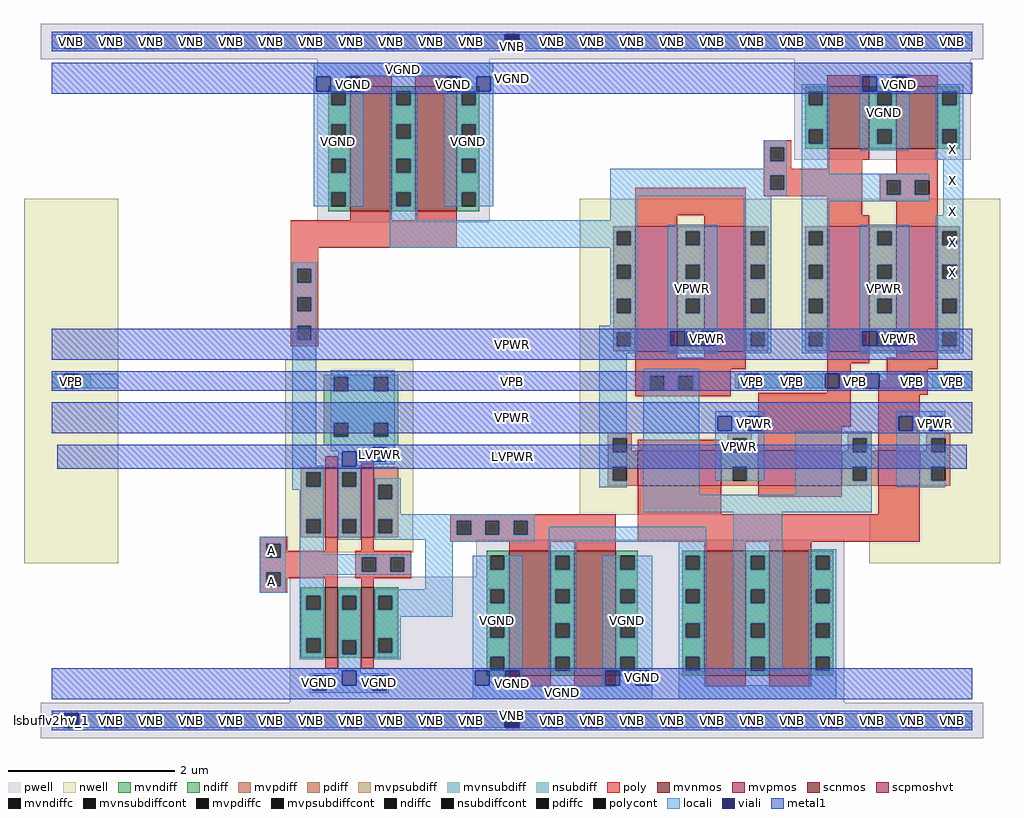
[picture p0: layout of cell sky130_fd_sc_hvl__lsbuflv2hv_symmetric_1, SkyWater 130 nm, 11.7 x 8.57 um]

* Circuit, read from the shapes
.subckt sky130_fd_sc_hvl__lsbuflv2hv_symmetric_1 A LVPWR VGND VNB VPB VPWR X
XM1 VGND A n1 VNB sky130_fd_pr__nfet_01v8 w=0.84 l=0.15
XM2 n2 n1 VGND VNB sky130_fd_pr__nfet_g5v0d10v5 w=1.5 l=0.5 m=2
XM3 n3 n1 VGND VNB sky130_fd_pr__nfet_01v8 w=0.84 l=0.15
XM4 n4 n3 VGND VNB sky130_fd_pr__nfet_g5v0d10v5 w=1.5 l=0.5 m=2
XM5 n5 n6 n4 VNB sky130_fd_pr__nfet_g5v0d10v5 w=1.5 l=0.5 m=2
XM6 VGND n2 n6 VNB sky130_fd_pr__nfet_g5v0d10v5 w=0.75 l=0.5
XM7 X n6 VGND VNB sky130_fd_pr__nfet_g5v0d10v5 w=0.75 l=0.5
XM8 LVPWR A n1 LVPWR sky130_fd_pr__pfet_01v8_hvt w=0.84 l=0.15
XM9 n3 n1 LVPWR LVPWR sky130_fd_pr__pfet_01v8_hvt w=0.84 l=0.15
XM10 VPWR n5 n2 VPB sky130_fd_pr__pfet_g5v0d10v5 w=1.5 l=0.5 m=2
XM11 VPWR n6 n2 VPB sky130_fd_pr__pfet_g5v0d10v5 w=0.42 l=1
XM12 n5 n2 VPWR VPB sky130_fd_pr__pfet_g5v0d10v5 w=0.42 l=1
XM13 VPWR n2 n6 VPB sky130_fd_pr__pfet_g5v0d10v5 w=1.5 l=0.5
XM14 VPWR n6 n5 VPB sky130_fd_pr__pfet_g5v0d10v5 w=0.42 l=0.5
XM15 X n6 VPWR VPB sky130_fd_pr__pfet_g5v0d10v5 w=1.5 l=0.5
.ends

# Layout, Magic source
magic
tech sky130B
magscale 1 2
<< nwell >>
rect -66 377 160 1251
rect 560 403 867 865
rect 1267 493 2274 1251
rect 1960 377 2274 493
<< pwell >>
rect -26 1585 2234 1671
rect 637 1195 1051 1585
rect 1781 1345 2204 1585
rect 1018 345 1900 433
rect 571 43 1900 345
rect -26 -43 2234 43
<< scnmos >>
rect 656 151 686 319
rect 742 151 772 319
<< scpmoshvt >>
rect 656 439 686 607
rect 742 439 772 607
<< mvnmos >>
rect 716 1221 816 1521
rect 872 1221 972 1521
rect 1860 1371 1960 1521
rect 2025 1371 2125 1521
rect 1097 107 1197 407
rect 1253 107 1353 407
rect 1565 107 1665 407
rect 1721 107 1821 407
<< mvpmos >>
rect 1400 885 1500 1185
rect 1565 885 1665 1185
rect 1860 885 1960 1185
rect 2025 885 2125 1185
rect 1406 563 1606 647
rect 1694 563 1894 647
rect 1982 563 2082 647
<< ndiff >>
rect 597 299 656 319
rect 597 265 611 299
rect 645 265 656 299
rect 597 197 656 265
rect 597 163 611 197
rect 645 163 656 197
rect 597 151 656 163
rect 686 299 742 319
rect 686 265 697 299
rect 731 265 742 299
rect 686 193 742 265
rect 686 159 697 193
rect 731 159 742 193
rect 686 151 742 159
rect 772 299 831 319
rect 772 265 783 299
rect 817 265 831 299
rect 772 197 831 265
rect 772 163 783 197
rect 817 163 831 197
rect 772 151 831 163
<< pdiff >>
rect 597 595 656 607
rect 597 561 611 595
rect 645 561 656 595
rect 597 483 656 561
rect 597 449 611 483
rect 645 449 656 483
rect 597 439 656 449
rect 686 595 742 607
rect 686 561 697 595
rect 731 561 742 595
rect 686 483 742 561
rect 686 449 697 483
rect 731 449 742 483
rect 686 439 742 449
rect 772 565 831 607
rect 772 531 783 565
rect 817 531 831 565
rect 772 483 831 531
rect 772 449 783 483
rect 817 449 831 483
rect 772 439 831 449
<< mvndiff >>
rect 663 1509 716 1521
rect 663 1475 671 1509
rect 705 1475 716 1509
rect 663 1429 716 1475
rect 663 1395 671 1429
rect 705 1395 716 1429
rect 663 1347 716 1395
rect 663 1313 671 1347
rect 705 1313 716 1347
rect 663 1267 716 1313
rect 663 1233 671 1267
rect 705 1233 716 1267
rect 663 1221 716 1233
rect 816 1509 872 1521
rect 816 1475 827 1509
rect 861 1475 872 1509
rect 816 1429 872 1475
rect 816 1395 827 1429
rect 861 1395 872 1429
rect 816 1347 872 1395
rect 816 1313 827 1347
rect 861 1313 872 1347
rect 816 1267 872 1313
rect 816 1233 827 1267
rect 861 1233 872 1267
rect 816 1221 872 1233
rect 972 1509 1025 1521
rect 972 1475 983 1509
rect 1017 1475 1025 1509
rect 972 1429 1025 1475
rect 972 1395 983 1429
rect 1017 1395 1025 1429
rect 972 1347 1025 1395
rect 1807 1509 1860 1521
rect 1807 1475 1815 1509
rect 1849 1475 1860 1509
rect 1807 1417 1860 1475
rect 972 1313 983 1347
rect 1017 1313 1025 1347
rect 972 1267 1025 1313
rect 1807 1383 1815 1417
rect 1849 1383 1860 1417
rect 1807 1371 1860 1383
rect 1960 1509 2025 1521
rect 1960 1475 1980 1509
rect 2014 1475 2025 1509
rect 1960 1417 2025 1475
rect 1960 1383 1980 1417
rect 2014 1383 2025 1417
rect 1960 1371 2025 1383
rect 2125 1509 2178 1521
rect 2125 1475 2136 1509
rect 2170 1475 2178 1509
rect 2125 1417 2178 1475
rect 2125 1383 2136 1417
rect 2170 1383 2178 1417
rect 2125 1371 2178 1383
rect 972 1233 983 1267
rect 1017 1233 1025 1267
rect 972 1221 1025 1233
rect 1044 395 1097 407
rect 1044 361 1052 395
rect 1086 361 1097 395
rect 1044 315 1097 361
rect 1044 281 1052 315
rect 1086 281 1097 315
rect 1044 233 1097 281
rect 1044 199 1052 233
rect 1086 199 1097 233
rect 1044 153 1097 199
rect 1044 119 1052 153
rect 1086 119 1097 153
rect 1044 107 1097 119
rect 1197 395 1253 407
rect 1197 361 1208 395
rect 1242 361 1253 395
rect 1197 315 1253 361
rect 1197 281 1208 315
rect 1242 281 1253 315
rect 1197 233 1253 281
rect 1197 199 1208 233
rect 1242 199 1253 233
rect 1197 153 1253 199
rect 1197 119 1208 153
rect 1242 119 1253 153
rect 1197 107 1253 119
rect 1353 395 1406 407
rect 1353 361 1364 395
rect 1398 361 1406 395
rect 1353 315 1406 361
rect 1353 281 1364 315
rect 1398 281 1406 315
rect 1353 233 1406 281
rect 1353 199 1364 233
rect 1398 199 1406 233
rect 1353 153 1406 199
rect 1353 119 1364 153
rect 1398 119 1406 153
rect 1353 107 1406 119
rect 1512 395 1565 407
rect 1512 361 1520 395
rect 1554 361 1565 395
rect 1512 315 1565 361
rect 1512 281 1520 315
rect 1554 281 1565 315
rect 1512 233 1565 281
rect 1512 199 1520 233
rect 1554 199 1565 233
rect 1512 153 1565 199
rect 1512 119 1520 153
rect 1554 119 1565 153
rect 1512 107 1565 119
rect 1665 395 1721 407
rect 1665 361 1676 395
rect 1710 361 1721 395
rect 1665 315 1721 361
rect 1665 281 1676 315
rect 1710 281 1721 315
rect 1665 233 1721 281
rect 1665 199 1676 233
rect 1710 199 1721 233
rect 1665 153 1721 199
rect 1665 119 1676 153
rect 1710 119 1721 153
rect 1665 107 1721 119
rect 1821 395 1874 407
rect 1821 361 1832 395
rect 1866 361 1874 395
rect 1821 315 1874 361
rect 1821 281 1832 315
rect 1866 281 1874 315
rect 1821 233 1874 281
rect 1821 199 1832 233
rect 1866 199 1874 233
rect 1821 153 1874 199
rect 1821 119 1832 153
rect 1866 119 1874 153
rect 1821 107 1874 119
<< mvpdiff >>
rect 1347 1173 1400 1185
rect 1347 1139 1355 1173
rect 1389 1139 1400 1173
rect 1347 1093 1400 1139
rect 1347 1059 1355 1093
rect 1389 1059 1400 1093
rect 1347 1011 1400 1059
rect 1347 977 1355 1011
rect 1389 977 1400 1011
rect 1347 931 1400 977
rect 1347 897 1355 931
rect 1389 897 1400 931
rect 1347 885 1400 897
rect 1500 1173 1565 1185
rect 1500 1139 1520 1173
rect 1554 1139 1565 1173
rect 1500 1093 1565 1139
rect 1500 1059 1520 1093
rect 1554 1059 1565 1093
rect 1500 1011 1565 1059
rect 1500 977 1520 1011
rect 1554 977 1565 1011
rect 1500 931 1565 977
rect 1500 897 1520 931
rect 1554 897 1565 931
rect 1500 885 1565 897
rect 1665 1173 1718 1185
rect 1665 1139 1676 1173
rect 1710 1139 1718 1173
rect 1665 1093 1718 1139
rect 1665 1059 1676 1093
rect 1710 1059 1718 1093
rect 1665 1011 1718 1059
rect 1665 977 1676 1011
rect 1710 977 1718 1011
rect 1665 931 1718 977
rect 1665 897 1676 931
rect 1710 897 1718 931
rect 1665 885 1718 897
rect 1807 1173 1860 1185
rect 1807 1139 1815 1173
rect 1849 1139 1860 1173
rect 1807 1093 1860 1139
rect 1807 1059 1815 1093
rect 1849 1059 1860 1093
rect 1807 1011 1860 1059
rect 1807 977 1815 1011
rect 1849 977 1860 1011
rect 1807 931 1860 977
rect 1807 897 1815 931
rect 1849 897 1860 931
rect 1807 885 1860 897
rect 1960 1173 2025 1185
rect 1960 1139 1980 1173
rect 2014 1139 2025 1173
rect 1960 1093 2025 1139
rect 1960 1059 1980 1093
rect 2014 1059 2025 1093
rect 1960 1011 2025 1059
rect 1960 977 1980 1011
rect 2014 977 2025 1011
rect 1960 931 2025 977
rect 1960 897 1980 931
rect 2014 897 2025 931
rect 1960 885 2025 897
rect 2125 1173 2178 1185
rect 2125 1139 2136 1173
rect 2170 1139 2178 1173
rect 2125 1093 2178 1139
rect 2125 1059 2136 1093
rect 2170 1059 2178 1093
rect 2125 1011 2178 1059
rect 2125 977 2136 1011
rect 2170 977 2178 1011
rect 2125 931 2178 977
rect 2125 897 2136 931
rect 2170 897 2178 931
rect 2125 885 2178 897
rect 1333 677 1391 689
rect 1333 643 1345 677
rect 1379 647 1391 677
rect 1621 677 1679 689
rect 1621 647 1633 677
rect 1379 643 1406 647
rect 1333 609 1406 643
rect 1333 575 1345 609
rect 1379 575 1406 609
rect 1333 563 1406 575
rect 1606 643 1633 647
rect 1667 647 1679 677
rect 1909 677 1967 689
rect 1909 647 1921 677
rect 1667 643 1694 647
rect 1606 609 1694 643
rect 1606 575 1633 609
rect 1667 575 1694 609
rect 1606 563 1694 575
rect 1894 643 1921 647
rect 1955 647 1967 677
rect 2097 677 2155 689
rect 2097 647 2109 677
rect 1955 643 1982 647
rect 1894 609 1982 643
rect 1894 575 1921 609
rect 1955 575 1982 609
rect 1894 563 1982 575
rect 2082 643 2109 647
rect 2143 643 2155 677
rect 2082 609 2155 643
rect 2082 575 2109 609
rect 2143 575 2155 609
rect 2082 563 2155 575
<< ndiffc >>
rect 611 265 645 299
rect 611 163 645 197
rect 697 265 731 299
rect 697 159 731 193
rect 783 265 817 299
rect 783 163 817 197
<< pdiffc >>
rect 611 561 645 595
rect 611 449 645 483
rect 697 561 731 595
rect 697 449 731 483
rect 783 531 817 565
rect 783 449 817 483
<< mvndiffc >>
rect 671 1475 705 1509
rect 671 1395 705 1429
rect 671 1313 705 1347
rect 671 1233 705 1267
rect 827 1475 861 1509
rect 827 1395 861 1429
rect 827 1313 861 1347
rect 827 1233 861 1267
rect 983 1475 1017 1509
rect 983 1395 1017 1429
rect 1815 1475 1849 1509
rect 983 1313 1017 1347
rect 1815 1383 1849 1417
rect 1980 1475 2014 1509
rect 1980 1383 2014 1417
rect 2136 1475 2170 1509
rect 2136 1383 2170 1417
rect 983 1233 1017 1267
rect 1052 361 1086 395
rect 1052 281 1086 315
rect 1052 199 1086 233
rect 1052 119 1086 153
rect 1208 361 1242 395
rect 1208 281 1242 315
rect 1208 199 1242 233
rect 1208 119 1242 153
rect 1364 361 1398 395
rect 1364 281 1398 315
rect 1364 199 1398 233
rect 1364 119 1398 153
rect 1520 361 1554 395
rect 1520 281 1554 315
rect 1520 199 1554 233
rect 1520 119 1554 153
rect 1676 361 1710 395
rect 1676 281 1710 315
rect 1676 199 1710 233
rect 1676 119 1710 153
rect 1832 361 1866 395
rect 1832 281 1866 315
rect 1832 199 1866 233
rect 1832 119 1866 153
<< mvpdiffc >>
rect 1355 1139 1389 1173
rect 1355 1059 1389 1093
rect 1355 977 1389 1011
rect 1355 897 1389 931
rect 1520 1139 1554 1173
rect 1520 1059 1554 1093
rect 1520 977 1554 1011
rect 1520 897 1554 931
rect 1676 1139 1710 1173
rect 1676 1059 1710 1093
rect 1676 977 1710 1011
rect 1676 897 1710 931
rect 1815 1139 1849 1173
rect 1815 1059 1849 1093
rect 1815 977 1849 1011
rect 1815 897 1849 931
rect 1980 1139 2014 1173
rect 1980 1059 2014 1093
rect 1980 977 2014 1011
rect 1980 897 2014 931
rect 2136 1139 2170 1173
rect 2136 1059 2170 1093
rect 2136 977 2170 1011
rect 2136 897 2170 931
rect 1345 643 1379 677
rect 1345 575 1379 609
rect 1633 643 1667 677
rect 1633 575 1667 609
rect 1921 643 1955 677
rect 1921 575 1955 609
rect 2109 643 2143 677
rect 2109 575 2143 609
<< nsubdiff >>
rect 653 824 831 829
rect 653 790 677 824
rect 711 790 773 824
rect 807 790 831 824
rect 653 714 831 790
rect 653 680 677 714
rect 711 680 773 714
rect 807 680 831 714
rect 653 661 831 680
<< mvpsubdiff >>
rect 0 1611 31 1645
rect 65 1611 127 1645
rect 161 1611 223 1645
rect 257 1611 319 1645
rect 353 1611 415 1645
rect 449 1611 511 1645
rect 545 1611 607 1645
rect 641 1611 703 1645
rect 737 1611 799 1645
rect 833 1611 895 1645
rect 929 1611 991 1645
rect 1025 1611 1087 1645
rect 1121 1611 1183 1645
rect 1217 1611 1279 1645
rect 1313 1611 1375 1645
rect 1409 1611 1471 1645
rect 1505 1611 1567 1645
rect 1601 1611 1663 1645
rect 1697 1611 1759 1645
rect 1793 1611 1855 1645
rect 1889 1611 1951 1645
rect 1985 1611 2047 1645
rect 2081 1611 2143 1645
rect 2177 1611 2208 1645
rect 0 -17 31 17
rect 65 -17 127 17
rect 161 -17 223 17
rect 257 -17 319 17
rect 353 -17 415 17
rect 449 -17 511 17
rect 545 -17 607 17
rect 641 -17 703 17
rect 737 -17 799 17
rect 833 -17 895 17
rect 929 -17 991 17
rect 1025 -17 1087 17
rect 1121 -17 1183 17
rect 1217 -17 1279 17
rect 1313 -17 1375 17
rect 1409 -17 1471 17
rect 1505 -17 1567 17
rect 1601 -17 1663 17
rect 1697 -17 1759 17
rect 1793 -17 1855 17
rect 1889 -17 1951 17
rect 1985 -17 2047 17
rect 2081 -17 2143 17
rect 2177 -17 2208 17
<< mvnsubdiff >>
rect 0 797 31 831
rect 65 797 94 831
rect 1639 797 1663 831
rect 1697 797 1759 831
rect 1793 797 1849 831
rect 2112 797 2143 831
rect 2177 797 2208 831
<< nsubdiffcont >>
rect 677 790 711 824
rect 773 790 807 824
rect 677 680 711 714
rect 773 680 807 714
<< mvpsubdiffcont >>
rect 31 1611 65 1645
rect 127 1611 161 1645
rect 223 1611 257 1645
rect 319 1611 353 1645
rect 415 1611 449 1645
rect 511 1611 545 1645
rect 607 1611 641 1645
rect 703 1611 737 1645
rect 799 1611 833 1645
rect 895 1611 929 1645
rect 991 1611 1025 1645
rect 1087 1611 1121 1645
rect 1183 1611 1217 1645
rect 1279 1611 1313 1645
rect 1375 1611 1409 1645
rect 1471 1611 1505 1645
rect 1567 1611 1601 1645
rect 1663 1611 1697 1645
rect 1759 1611 1793 1645
rect 1855 1611 1889 1645
rect 1951 1611 1985 1645
rect 2047 1611 2081 1645
rect 2143 1611 2177 1645
rect 31 -17 65 17
rect 127 -17 161 17
rect 223 -17 257 17
rect 319 -17 353 17
rect 415 -17 449 17
rect 511 -17 545 17
rect 607 -17 641 17
rect 703 -17 737 17
rect 799 -17 833 17
rect 895 -17 929 17
rect 991 -17 1025 17
rect 1087 -17 1121 17
rect 1183 -17 1217 17
rect 1279 -17 1313 17
rect 1375 -17 1409 17
rect 1471 -17 1505 17
rect 1567 -17 1601 17
rect 1663 -17 1697 17
rect 1759 -17 1793 17
rect 1855 -17 1889 17
rect 1951 -17 1985 17
rect 2047 -17 2081 17
rect 2143 -17 2177 17
<< mvnsubdiffcont >>
rect 31 797 65 831
rect 1663 797 1697 831
rect 1759 797 1793 831
rect 2143 797 2177 831
<< poly >>
rect 716 1521 816 1547
rect 872 1521 972 1547
rect 1860 1521 1960 1547
rect 2025 1521 2125 1547
rect 1707 1375 1773 1391
rect 1707 1341 1723 1375
rect 1757 1341 1773 1375
rect 1707 1323 1773 1341
rect 1860 1345 1960 1371
rect 1860 1323 1944 1345
rect 1707 1307 1944 1323
rect 2025 1311 2125 1371
rect 716 1199 816 1221
rect 872 1199 972 1221
rect 573 1133 972 1199
rect 1400 1211 1665 1277
rect 1707 1273 1723 1307
rect 1757 1273 1944 1307
rect 1707 1257 1944 1273
rect 1400 1185 1500 1211
rect 1565 1185 1665 1211
rect 1860 1211 1944 1257
rect 1986 1295 2125 1311
rect 1986 1261 2002 1295
rect 2036 1261 2070 1295
rect 2104 1261 2125 1295
rect 1986 1245 2125 1261
rect 1860 1185 1960 1211
rect 2025 1185 2125 1245
rect 573 1083 639 1133
rect 573 1049 589 1083
rect 623 1049 639 1083
rect 573 1015 639 1049
rect 573 981 589 1015
rect 623 981 639 1015
rect 573 947 639 981
rect 573 913 589 947
rect 623 913 639 947
rect 573 897 639 913
rect 1400 870 1500 885
rect 1565 870 1665 885
rect 1400 842 1665 870
rect 1860 857 1960 885
rect 2025 870 2125 885
rect 1400 827 1628 842
rect 1400 793 1435 827
rect 1469 793 1503 827
rect 1537 793 1628 827
rect 1400 777 1628 793
rect 1860 786 1916 857
rect 2002 842 2125 870
rect 2002 815 2101 842
rect 1694 704 1916 786
rect 1982 781 2101 815
rect 1406 647 1606 673
rect 656 607 686 633
rect 742 607 772 633
rect 499 424 565 440
rect 1694 647 1894 704
rect 1982 647 2082 781
rect 1406 495 1606 563
rect 1694 537 1894 563
rect 1982 495 2082 563
rect 956 479 1353 495
rect 956 445 972 479
rect 1006 445 1040 479
rect 1074 445 1108 479
rect 1142 445 1353 479
rect 499 390 515 424
rect 549 407 565 424
rect 656 407 686 439
rect 742 407 772 439
rect 956 429 1353 445
rect 1406 429 2082 495
rect 1097 407 1197 429
rect 1253 407 1353 429
rect 1565 407 1665 429
rect 1721 407 1821 429
rect 549 390 686 407
rect 499 356 686 390
rect 499 322 515 356
rect 549 341 686 356
rect 728 391 862 407
rect 728 357 744 391
rect 778 357 812 391
rect 846 357 862 391
rect 728 341 862 357
rect 549 322 565 341
rect 499 306 565 322
rect 656 319 686 341
rect 742 319 772 341
rect 656 125 686 151
rect 742 125 772 151
rect 1097 81 1197 107
rect 1253 81 1353 107
rect 1565 81 1665 107
rect 1721 81 1821 107
<< polycont >>
rect 1723 1341 1757 1375
rect 1723 1273 1757 1307
rect 2002 1261 2036 1295
rect 2070 1261 2104 1295
rect 589 1049 623 1083
rect 589 981 623 1015
rect 589 913 623 947
rect 1435 793 1469 827
rect 1503 793 1537 827
rect 972 445 1006 479
rect 1040 445 1074 479
rect 1108 445 1142 479
rect 515 390 549 424
rect 515 322 549 356
rect 744 357 778 391
rect 812 357 846 391
<< locali >>
rect 0 1611 31 1645
rect 65 1611 127 1645
rect 161 1611 223 1645
rect 257 1611 319 1645
rect 353 1611 415 1645
rect 449 1611 511 1645
rect 545 1611 607 1645
rect 641 1611 703 1645
rect 737 1611 799 1645
rect 833 1611 895 1645
rect 929 1611 991 1645
rect 1025 1611 1087 1645
rect 1121 1611 1183 1645
rect 1217 1611 1279 1645
rect 1313 1611 1375 1645
rect 1409 1611 1471 1645
rect 1505 1611 1567 1645
rect 1601 1611 1663 1645
rect 1697 1611 1759 1645
rect 1793 1611 1855 1645
rect 1889 1611 1951 1645
rect 1985 1611 2047 1645
rect 2081 1611 2143 1645
rect 2177 1611 2208 1645
rect 629 1543 1059 1577
rect 629 1509 635 1543
rect 669 1509 707 1543
rect 741 1509 747 1543
rect 941 1509 947 1543
rect 981 1509 1019 1543
rect 1053 1509 1059 1543
rect 1938 1543 2056 1549
rect 629 1475 671 1509
rect 705 1475 747 1509
rect 629 1429 747 1475
rect 629 1395 671 1429
rect 705 1395 747 1429
rect 629 1347 747 1395
rect 629 1313 671 1347
rect 705 1313 747 1347
rect 629 1267 747 1313
rect 629 1233 671 1267
rect 705 1233 747 1267
rect 811 1475 827 1509
rect 861 1475 877 1509
rect 811 1429 877 1475
rect 811 1395 827 1429
rect 861 1395 877 1429
rect 811 1347 877 1395
rect 811 1313 827 1347
rect 861 1313 877 1347
rect 811 1267 877 1313
rect 811 1233 827 1267
rect 861 1233 877 1267
rect 941 1475 983 1509
rect 1017 1475 1059 1509
rect 941 1429 1059 1475
rect 941 1395 983 1429
rect 1017 1395 1059 1429
rect 941 1347 1059 1395
rect 1799 1509 1865 1525
rect 1799 1475 1815 1509
rect 1849 1475 1865 1509
rect 1799 1417 1865 1475
rect 941 1313 983 1347
rect 1017 1313 1059 1347
rect 1707 1375 1763 1391
rect 1707 1341 1723 1375
rect 1757 1341 1763 1375
rect 1707 1323 1763 1341
rect 941 1267 1059 1313
rect 941 1233 983 1267
rect 1017 1233 1059 1267
rect 1339 1307 1763 1323
rect 1339 1273 1723 1307
rect 1757 1273 1763 1307
rect 1339 1257 1763 1273
rect 1799 1383 1815 1417
rect 1849 1383 1865 1417
rect 1799 1311 1865 1383
rect 1938 1509 1944 1543
rect 1978 1509 2016 1543
rect 2050 1509 2056 1543
rect 1938 1475 1980 1509
rect 2014 1475 2056 1509
rect 1938 1417 2056 1475
rect 1938 1383 1980 1417
rect 2014 1383 2056 1417
rect 1938 1367 2056 1383
rect 2120 1509 2186 1525
rect 2120 1475 2136 1509
rect 2170 1475 2186 1509
rect 2120 1417 2186 1475
rect 2120 1383 2136 1417
rect 2170 1383 2186 1417
rect 2120 1345 2186 1383
rect 1799 1295 2104 1311
rect 1799 1261 2002 1295
rect 2036 1261 2070 1295
rect 811 1199 877 1233
rect 1339 1199 1405 1257
rect 811 1173 1405 1199
rect 811 1139 1355 1173
rect 1389 1139 1405 1173
rect 811 1133 1405 1139
rect 577 1083 635 1099
rect 577 1049 589 1083
rect 623 1049 635 1083
rect 577 1015 635 1049
rect 577 981 589 1015
rect 623 981 635 1015
rect 577 947 635 981
rect 1339 1093 1405 1133
rect 1339 1059 1355 1093
rect 1389 1059 1405 1093
rect 1339 1011 1405 1059
rect 1339 977 1355 1011
rect 1389 977 1405 1011
rect 1339 947 1405 977
rect 577 913 589 947
rect 623 913 635 947
rect 0 797 31 831
rect 65 797 160 831
rect 577 611 635 913
rect 1313 931 1405 947
rect 1313 897 1355 931
rect 1389 897 1405 931
rect 1313 881 1405 897
rect 1478 1173 1596 1189
rect 1478 1139 1520 1173
rect 1554 1139 1596 1173
rect 1478 1093 1596 1139
rect 1478 1059 1520 1093
rect 1554 1059 1596 1093
rect 1478 1011 1596 1059
rect 1478 977 1520 1011
rect 1554 977 1596 1011
rect 1478 933 1596 977
rect 1478 899 1484 933
rect 1518 931 1556 933
rect 1518 899 1520 931
rect 1478 897 1520 899
rect 1554 899 1556 931
rect 1590 899 1596 933
rect 1554 897 1596 899
rect 1478 881 1596 897
rect 1660 1173 1726 1257
rect 1660 1139 1676 1173
rect 1710 1139 1726 1173
rect 1660 1093 1726 1139
rect 1660 1059 1676 1093
rect 1710 1059 1726 1093
rect 1660 1011 1726 1059
rect 1660 977 1676 1011
rect 1710 977 1726 1011
rect 1660 931 1726 977
rect 1660 897 1676 931
rect 1710 897 1726 931
rect 1660 881 1726 897
rect 1799 1245 2104 1261
rect 1799 1173 1865 1245
rect 2138 1211 2186 1345
rect 1799 1139 1815 1173
rect 1849 1139 1865 1173
rect 1799 1093 1865 1139
rect 1799 1059 1815 1093
rect 1849 1059 1865 1093
rect 1799 1011 1865 1059
rect 1799 977 1815 1011
rect 1849 977 1865 1011
rect 1799 931 1865 977
rect 1799 897 1815 931
rect 1849 897 1865 931
rect 1799 881 1865 897
rect 1938 1173 2056 1189
rect 1938 1139 1980 1173
rect 2014 1139 2056 1173
rect 1938 1093 2056 1139
rect 1938 1059 1980 1093
rect 2014 1059 2056 1093
rect 1938 1011 2056 1059
rect 1938 977 1980 1011
rect 2014 977 2056 1011
rect 1938 933 2056 977
rect 1938 899 1944 933
rect 1978 931 2016 933
rect 1978 899 1980 931
rect 1938 897 1980 899
rect 2014 899 2016 931
rect 2050 899 2056 933
rect 2014 897 2056 899
rect 1938 881 2056 897
rect 2120 1173 2186 1211
rect 2120 1139 2136 1173
rect 2170 1139 2186 1173
rect 2120 1093 2186 1139
rect 2120 1059 2136 1093
rect 2170 1059 2186 1093
rect 2120 1011 2186 1059
rect 2120 977 2136 1011
rect 2170 977 2186 1011
rect 2120 931 2186 977
rect 2120 897 2136 931
rect 2170 897 2186 931
rect 2120 881 2186 897
rect 669 824 823 840
rect 669 790 677 824
rect 711 790 773 824
rect 807 790 823 824
rect 669 714 823 790
rect 669 680 677 714
rect 711 680 773 714
rect 807 680 823 714
rect 669 655 823 680
rect 669 645 769 655
rect 687 644 769 645
rect 577 595 653 611
rect 577 561 611 595
rect 645 561 653 595
rect 577 553 653 561
rect 595 483 653 553
rect 595 449 611 483
rect 645 449 653 483
rect 499 424 561 440
rect 499 390 515 424
rect 549 390 561 424
rect 499 356 561 390
rect 499 322 515 356
rect 549 322 561 356
rect 499 306 561 322
rect 595 399 653 449
rect 687 610 697 644
rect 731 621 769 644
rect 803 621 823 655
rect 731 615 823 621
rect 1313 677 1379 881
rect 1313 643 1345 677
rect 731 610 741 615
rect 687 595 741 610
rect 687 561 697 595
rect 731 561 741 595
rect 1313 609 1379 643
rect 687 483 741 561
rect 687 449 697 483
rect 731 449 741 483
rect 687 433 741 449
rect 775 565 837 581
rect 775 531 783 565
rect 817 531 837 565
rect 1313 575 1345 609
rect 1313 559 1379 575
rect 1419 827 1553 843
rect 1419 793 1435 827
rect 1469 793 1503 827
rect 1537 793 1553 827
rect 1647 797 1663 831
rect 1697 797 1759 831
rect 1793 797 1855 831
rect 1889 797 1951 831
rect 1985 797 2047 831
rect 2081 797 2143 831
rect 2177 797 2208 831
rect 775 495 837 531
rect 1419 541 1553 793
rect 1591 729 1709 741
rect 1591 695 1597 729
rect 1631 695 1669 729
rect 1703 695 1709 729
rect 1591 677 1709 695
rect 2025 729 2143 741
rect 2025 695 2031 729
rect 2065 695 2103 729
rect 2137 695 2143 729
rect 1591 643 1633 677
rect 1667 643 1709 677
rect 1591 609 1709 643
rect 1591 575 1633 609
rect 1667 575 1709 609
rect 1783 677 1967 693
rect 1783 643 1921 677
rect 1955 643 1967 677
rect 1783 609 1967 643
rect 1783 575 1921 609
rect 1955 575 1967 609
rect 1783 541 1967 575
rect 2025 677 2143 695
rect 2025 643 2109 677
rect 2025 609 2143 643
rect 2025 575 2109 609
rect 2025 559 2143 575
rect 1419 499 1967 541
rect 775 483 1158 495
rect 775 449 783 483
rect 817 479 1158 483
rect 817 449 972 479
rect 775 445 972 449
rect 1006 445 1040 479
rect 1074 445 1108 479
rect 1142 445 1158 479
rect 775 433 1158 445
rect 896 429 1158 433
rect 1192 429 1570 465
rect 595 391 862 399
rect 595 357 744 391
rect 778 357 812 391
rect 846 357 862 391
rect 595 349 862 357
rect 595 299 653 349
rect 896 315 962 429
rect 1192 395 1258 429
rect 1504 395 1570 429
rect 595 265 611 299
rect 645 265 653 299
rect 595 197 653 265
rect 595 163 611 197
rect 645 163 653 197
rect 595 147 653 163
rect 687 299 741 315
rect 687 265 697 299
rect 731 265 741 299
rect 687 193 741 265
rect 687 159 697 193
rect 731 159 741 193
rect 687 119 741 159
rect 775 299 962 315
rect 775 265 783 299
rect 817 265 962 299
rect 775 249 962 265
rect 1010 361 1052 395
rect 1086 361 1128 395
rect 1010 315 1128 361
rect 1010 281 1052 315
rect 1086 281 1128 315
rect 775 197 837 249
rect 775 163 783 197
rect 817 163 837 197
rect 775 147 837 163
rect 1010 233 1128 281
rect 1010 199 1052 233
rect 1086 199 1128 233
rect 1010 153 1128 199
rect 687 113 697 119
rect 619 107 697 113
rect 619 73 625 107
rect 659 85 697 107
rect 731 113 741 119
rect 1010 119 1052 153
rect 1086 119 1128 153
rect 1192 361 1208 395
rect 1242 361 1258 395
rect 1192 315 1258 361
rect 1192 281 1208 315
rect 1242 281 1258 315
rect 1192 233 1258 281
rect 1192 199 1208 233
rect 1242 199 1258 233
rect 1192 153 1258 199
rect 1192 119 1208 153
rect 1242 119 1258 153
rect 1322 361 1364 395
rect 1398 361 1440 395
rect 1322 315 1440 361
rect 1322 281 1364 315
rect 1398 281 1440 315
rect 1322 233 1440 281
rect 1322 199 1364 233
rect 1398 199 1440 233
rect 1322 153 1440 199
rect 1322 119 1364 153
rect 1398 119 1440 153
rect 731 107 809 113
rect 731 85 769 107
rect 659 73 769 85
rect 803 73 809 107
rect 619 67 809 73
rect 1010 85 1016 119
rect 1050 85 1088 119
rect 1122 85 1128 119
rect 1322 85 1328 119
rect 1362 85 1400 119
rect 1434 85 1440 119
rect 1010 51 1440 85
rect 1504 361 1520 395
rect 1554 361 1570 395
rect 1504 315 1570 361
rect 1504 281 1520 315
rect 1554 281 1570 315
rect 1504 233 1570 281
rect 1504 199 1520 233
rect 1554 199 1570 233
rect 1504 153 1570 199
rect 1504 119 1520 153
rect 1554 119 1570 153
rect 1634 395 1752 499
rect 1634 361 1676 395
rect 1710 361 1752 395
rect 1634 315 1752 361
rect 1634 281 1676 315
rect 1710 281 1752 315
rect 1634 233 1752 281
rect 1634 199 1676 233
rect 1710 199 1752 233
rect 1634 153 1752 199
rect 1634 119 1676 153
rect 1710 119 1752 153
rect 1816 395 1882 411
rect 1816 361 1832 395
rect 1866 361 1882 395
rect 1816 315 1882 361
rect 1816 281 1832 315
rect 1866 281 1882 315
rect 1816 233 1882 281
rect 1816 199 1832 233
rect 1866 199 1882 233
rect 1816 153 1882 199
rect 1816 119 1832 153
rect 1866 119 1882 153
rect 1504 85 1570 119
rect 1816 85 1882 119
rect 1504 51 1882 85
rect 0 -17 31 17
rect 65 -17 127 17
rect 161 -17 223 17
rect 257 -17 319 17
rect 353 -17 415 17
rect 449 -17 511 17
rect 545 -17 607 17
rect 641 -17 703 17
rect 737 -17 799 17
rect 833 -17 895 17
rect 929 -17 991 17
rect 1025 -17 1087 17
rect 1121 -17 1183 17
rect 1217 -17 1279 17
rect 1313 -17 1375 17
rect 1409 -17 1471 17
rect 1505 -17 1567 17
rect 1601 -17 1663 17
rect 1697 -17 1759 17
rect 1793 -17 1855 17
rect 1889 -17 1951 17
rect 1985 -17 2047 17
rect 2081 -17 2143 17
rect 2177 -17 2208 17
<< viali >>
rect 31 1611 65 1645
rect 127 1611 161 1645
rect 223 1611 257 1645
rect 319 1611 353 1645
rect 415 1611 449 1645
rect 511 1611 545 1645
rect 607 1611 641 1645
rect 703 1611 737 1645
rect 799 1611 833 1645
rect 895 1611 929 1645
rect 991 1611 1025 1645
rect 1087 1611 1121 1645
rect 1183 1611 1217 1645
rect 1279 1611 1313 1645
rect 1375 1611 1409 1645
rect 1471 1611 1505 1645
rect 1567 1611 1601 1645
rect 1663 1611 1697 1645
rect 1759 1611 1793 1645
rect 1855 1611 1889 1645
rect 1951 1611 1985 1645
rect 2047 1611 2081 1645
rect 2143 1611 2177 1645
rect 635 1509 669 1543
rect 707 1509 741 1543
rect 947 1509 981 1543
rect 1019 1509 1053 1543
rect 1944 1509 1978 1543
rect 2016 1509 2050 1543
rect 31 797 65 831
rect 1484 899 1518 933
rect 1556 899 1590 933
rect 1944 899 1978 933
rect 2016 899 2050 933
rect 697 610 731 644
rect 769 621 803 655
rect 1663 797 1697 831
rect 1759 797 1793 831
rect 1855 797 1889 831
rect 1951 797 1985 831
rect 2047 797 2081 831
rect 2143 797 2177 831
rect 1597 695 1631 729
rect 1669 695 1703 729
rect 2031 695 2065 729
rect 2103 695 2137 729
rect 625 73 659 107
rect 697 85 731 119
rect 769 73 803 107
rect 1016 85 1050 119
rect 1088 85 1122 119
rect 1328 85 1362 119
rect 1400 85 1434 119
rect 31 -17 65 17
rect 127 -17 161 17
rect 223 -17 257 17
rect 319 -17 353 17
rect 415 -17 449 17
rect 511 -17 545 17
rect 607 -17 641 17
rect 703 -17 737 17
rect 799 -17 833 17
rect 895 -17 929 17
rect 991 -17 1025 17
rect 1087 -17 1121 17
rect 1183 -17 1217 17
rect 1279 -17 1313 17
rect 1375 -17 1409 17
rect 1471 -17 1505 17
rect 1567 -17 1601 17
rect 1663 -17 1697 17
rect 1759 -17 1793 17
rect 1855 -17 1889 17
rect 1951 -17 1985 17
rect 2047 -17 2081 17
rect 2143 -17 2177 17
<< metal1 >>
rect 0 1645 2208 1651
rect 0 1611 31 1645
rect 65 1611 127 1645
rect 161 1611 223 1645
rect 257 1611 319 1645
rect 353 1611 415 1645
rect 449 1611 511 1645
rect 545 1611 607 1645
rect 641 1611 703 1645
rect 737 1611 799 1645
rect 833 1611 895 1645
rect 929 1611 991 1645
rect 1025 1611 1087 1645
rect 1121 1611 1183 1645
rect 1217 1611 1279 1645
rect 1313 1611 1375 1645
rect 1409 1611 1471 1645
rect 1505 1611 1567 1645
rect 1601 1611 1663 1645
rect 1697 1611 1759 1645
rect 1793 1611 1855 1645
rect 1889 1611 1951 1645
rect 1985 1611 2047 1645
rect 2081 1611 2143 1645
rect 2177 1611 2208 1645
rect 0 1605 2208 1611
rect 0 1543 2208 1577
rect 0 1509 635 1543
rect 669 1509 707 1543
rect 741 1509 947 1543
rect 981 1509 1019 1543
rect 1053 1509 1944 1543
rect 1978 1509 2016 1543
rect 2050 1509 2208 1543
rect 0 1503 2208 1509
rect 0 933 2208 939
rect 0 899 1484 933
rect 1518 899 1556 933
rect 1590 899 1944 933
rect 1978 899 2016 933
rect 2050 899 2208 933
rect 0 865 2208 899
rect 0 831 2208 837
rect 0 797 31 831
rect 65 797 1663 831
rect 1697 797 1759 831
rect 1793 797 1855 831
rect 1889 797 1951 831
rect 1985 797 2047 831
rect 2081 797 2143 831
rect 2177 797 2208 831
rect 0 791 2208 797
rect 0 729 2208 763
rect 0 695 1597 729
rect 1631 695 1669 729
rect 1703 695 2031 729
rect 2065 695 2103 729
rect 2137 695 2208 729
rect 0 689 2208 695
rect 14 655 2194 661
rect 14 644 769 655
rect 14 610 697 644
rect 731 621 769 644
rect 803 621 2194 655
rect 731 610 2194 621
rect 14 604 2194 610
rect 0 119 2208 125
rect 0 107 697 119
rect 0 73 625 107
rect 659 85 697 107
rect 731 107 1016 119
rect 731 85 769 107
rect 659 73 769 85
rect 803 85 1016 107
rect 1050 85 1088 119
rect 1122 85 1328 119
rect 1362 85 1400 119
rect 1434 85 2208 119
rect 803 73 2208 85
rect 0 51 2208 73
rect 0 17 2208 23
rect 0 -17 31 17
rect 65 -17 127 17
rect 161 -17 223 17
rect 257 -17 319 17
rect 353 -17 415 17
rect 449 -17 511 17
rect 545 -17 607 17
rect 641 -17 703 17
rect 737 -17 799 17
rect 833 -17 895 17
rect 929 -17 991 17
rect 1025 -17 1087 17
rect 1121 -17 1183 17
rect 1217 -17 1279 17
rect 1313 -17 1375 17
rect 1409 -17 1471 17
rect 1505 -17 1567 17
rect 1601 -17 1663 17
rect 1697 -17 1759 17
rect 1793 -17 1855 17
rect 1889 -17 1951 17
rect 1985 -17 2047 17
rect 2081 -17 2143 17
rect 2177 -17 2208 17
rect 0 -23 2208 -17
<< labels >>
rlabel comment s 0 0 0 0 4 lsbuflv2hv_1
flabel locali s 511 390 545 424 0 FreeSans 340 0 0 0 A
port 1 nsew signal input
flabel locali s 511 316 545 350 0 FreeSans 340 0 0 0 A
port 1 nsew signal input
flabel locali s 2143 1204 2177 1238 0 FreeSans 340 0 0 0 X
port 7 nsew signal output
flabel locali s 2143 1130 2177 1164 0 FreeSans 340 0 0 0 X
port 7 nsew signal output
flabel locali s 2143 1056 2177 1090 0 FreeSans 340 0 0 0 X
port 7 nsew signal output
flabel locali s 2143 1278 2177 1312 0 FreeSans 340 0 0 0 X
port 7 nsew signal output
flabel locali s 2143 1352 2177 1386 0 FreeSans 340 0 0 0 X
port 7 nsew signal output
flabel metal1 s 0 689 2208 763 0 FreeSans 340 0 0 0 VPWR
port 6 nsew power bidirectional
flabel metal1 s 0 865 2208 939 0 FreeSans 340 0 0 0 VPWR
port 6 nsew power bidirectional
flabel metal1 s 14 604 2194 661 0 FreeSans 340 0 0 0 LVPWR
port 2 nsew power bidirectional
flabel metal1 s 0 1605 2208 1628 0 FreeSans 340 0 0 0 VNB
port 4 nsew ground bidirectional
flabel metal1 s 0 0 2208 23 0 FreeSans 340 0 0 0 VNB
port 4 nsew ground bidirectional
flabel metal1 s 0 1503 2208 1577 0 FreeSans 340 0 0 0 VGND
port 3 nsew ground bidirectional
flabel metal1 s 0 51 2208 125 0 FreeSans 340 0 0 0 VGND
port 3 nsew ground bidirectional
flabel metal1 s 0 791 2208 837 0 FreeSans 340 0 0 0 VPB
port 5 nsew power bidirectional
rlabel viali s 769 621 803 655 1 LVPWR
port 2 nsew power bidirectional
rlabel viali s 697 610 731 644 1 LVPWR
port 2 nsew power bidirectional
rlabel metal1 s 14 604 2194 661 1 LVPWR
port 2 nsew power bidirectional
rlabel locali s 941 1233 1059 1543 1 VGND
port 3 nsew ground bidirectional
rlabel locali s 629 1543 1059 1577 1 VGND
port 3 nsew ground bidirectional
rlabel locali s 629 1233 747 1543 1 VGND
port 3 nsew ground bidirectional
rlabel locali s 1322 85 1440 395 1 VGND
port 3 nsew ground bidirectional
rlabel locali s 1010 85 1128 395 1 VGND
port 3 nsew ground bidirectional
rlabel locali s 1010 51 1440 85 1 VGND
port 3 nsew ground bidirectional
rlabel locali s 1938 1367 2056 1549 1 VGND
port 3 nsew ground bidirectional
rlabel viali s 2016 1509 2050 1543 1 VGND
port 3 nsew ground bidirectional
rlabel viali s 1944 1509 1978 1543 1 VGND
port 3 nsew ground bidirectional
rlabel viali s 1400 85 1434 119 1 VGND
port 3 nsew ground bidirectional
rlabel viali s 1328 85 1362 119 1 VGND
port 3 nsew ground bidirectional
rlabel viali s 1088 85 1122 119 1 VGND
port 3 nsew ground bidirectional
rlabel viali s 1019 1509 1053 1543 1 VGND
port 3 nsew ground bidirectional
rlabel viali s 1016 85 1050 119 1 VGND
port 3 nsew ground bidirectional
rlabel viali s 947 1509 981 1543 1 VGND
port 3 nsew ground bidirectional
rlabel viali s 769 73 803 107 1 VGND
port 3 nsew ground bidirectional
rlabel viali s 707 1509 741 1543 1 VGND
port 3 nsew ground bidirectional
rlabel viali s 697 85 731 119 1 VGND
port 3 nsew ground bidirectional
rlabel viali s 635 1509 669 1543 1 VGND
port 3 nsew ground bidirectional
rlabel viali s 625 73 659 107 1 VGND
port 3 nsew ground bidirectional
rlabel metal1 s 0 51 2208 125 1 VGND
port 3 nsew ground bidirectional
rlabel metal1 s 0 1503 2208 1577 1 VGND
port 3 nsew ground bidirectional
rlabel locali s 0 1611 2208 1645 1 VNB
port 4 nsew ground bidirectional
rlabel viali s 2143 1611 2177 1645 1 VNB
port 4 nsew ground bidirectional
rlabel viali s 2143 -17 2177 17 1 VNB
port 4 nsew ground bidirectional
rlabel viali s 2047 1611 2081 1645 1 VNB
port 4 nsew ground bidirectional
rlabel viali s 2047 -17 2081 17 1 VNB
port 4 nsew ground bidirectional
rlabel viali s 1951 1611 1985 1645 1 VNB
port 4 nsew ground bidirectional
rlabel viali s 1951 -17 1985 17 1 VNB
port 4 nsew ground bidirectional
rlabel viali s 1855 1611 1889 1645 1 VNB
port 4 nsew ground bidirectional
rlabel viali s 1855 -17 1889 17 1 VNB
port 4 nsew ground bidirectional
rlabel viali s 1759 1611 1793 1645 1 VNB
port 4 nsew ground bidirectional
rlabel viali s 1759 -17 1793 17 1 VNB
port 4 nsew ground bidirectional
rlabel viali s 1663 1611 1697 1645 1 VNB
port 4 nsew ground bidirectional
rlabel viali s 1663 -17 1697 17 1 VNB
port 4 nsew ground bidirectional
rlabel viali s 1567 1611 1601 1645 1 VNB
port 4 nsew ground bidirectional
rlabel viali s 1567 -17 1601 17 1 VNB
port 4 nsew ground bidirectional
rlabel viali s 1471 1611 1505 1645 1 VNB
port 4 nsew ground bidirectional
rlabel viali s 1471 -17 1505 17 1 VNB
port 4 nsew ground bidirectional
rlabel viali s 1375 1611 1409 1645 1 VNB
port 4 nsew ground bidirectional
rlabel viali s 1375 -17 1409 17 1 VNB
port 4 nsew ground bidirectional
rlabel viali s 1279 1611 1313 1645 1 VNB
port 4 nsew ground bidirectional
rlabel viali s 1279 -17 1313 17 1 VNB
port 4 nsew ground bidirectional
rlabel viali s 1183 1611 1217 1645 1 VNB
port 4 nsew ground bidirectional
rlabel viali s 1183 -17 1217 17 1 VNB
port 4 nsew ground bidirectional
rlabel viali s 1087 1611 1121 1645 1 VNB
port 4 nsew ground bidirectional
rlabel viali s 1087 -17 1121 17 1 VNB
port 4 nsew ground bidirectional
rlabel viali s 991 1611 1025 1645 1 VNB
port 4 nsew ground bidirectional
rlabel viali s 991 -17 1025 17 1 VNB
port 4 nsew ground bidirectional
rlabel viali s 895 1611 929 1645 1 VNB
port 4 nsew ground bidirectional
rlabel viali s 895 -17 929 17 1 VNB
port 4 nsew ground bidirectional
rlabel viali s 799 1611 833 1645 1 VNB
port 4 nsew ground bidirectional
rlabel viali s 799 -17 833 17 1 VNB
port 4 nsew ground bidirectional
rlabel viali s 703 1611 737 1645 1 VNB
port 4 nsew ground bidirectional
rlabel viali s 703 -17 737 17 1 VNB
port 4 nsew ground bidirectional
rlabel viali s 607 1611 641 1645 1 VNB
port 4 nsew ground bidirectional
rlabel viali s 607 -17 641 17 1 VNB
port 4 nsew ground bidirectional
rlabel viali s 511 1611 545 1645 1 VNB
port 4 nsew ground bidirectional
rlabel viali s 511 -17 545 17 1 VNB
port 4 nsew ground bidirectional
rlabel viali s 415 1611 449 1645 1 VNB
port 4 nsew ground bidirectional
rlabel viali s 415 -17 449 17 1 VNB
port 4 nsew ground bidirectional
rlabel viali s 319 1611 353 1645 1 VNB
port 4 nsew ground bidirectional
rlabel viali s 319 -17 353 17 1 VNB
port 4 nsew ground bidirectional
rlabel viali s 223 1611 257 1645 1 VNB
port 4 nsew ground bidirectional
rlabel viali s 223 -17 257 17 1 VNB
port 4 nsew ground bidirectional
rlabel viali s 127 1611 161 1645 1 VNB
port 4 nsew ground bidirectional
rlabel viali s 127 -17 161 17 1 VNB
port 4 nsew ground bidirectional
rlabel viali s 31 1611 65 1645 1 VNB
port 4 nsew ground bidirectional
rlabel viali s 31 -17 65 17 1 VNB
port 4 nsew ground bidirectional
rlabel metal1 s 0 -23 2208 23 1 VNB
port 4 nsew ground bidirectional
rlabel metal1 s 0 1605 2208 1651 1 VNB
port 4 nsew ground bidirectional
rlabel locali s 1647 797 2208 831 1 VPB
port 5 nsew power bidirectional
rlabel viali s 2143 797 2177 831 1 VPB
port 5 nsew power bidirectional
rlabel viali s 2047 797 2081 831 1 VPB
port 5 nsew power bidirectional
rlabel viali s 1951 797 1985 831 1 VPB
port 5 nsew power bidirectional
rlabel viali s 1855 797 1889 831 1 VPB
port 5 nsew power bidirectional
rlabel viali s 1759 797 1793 831 1 VPB
port 5 nsew power bidirectional
rlabel viali s 1663 797 1697 831 1 VPB
port 5 nsew power bidirectional
rlabel viali s 31 797 65 831 1 VPB
port 5 nsew power bidirectional
rlabel metal1 s 0 791 2208 837 1 VPB
port 5 nsew power bidirectional
rlabel locali s 1478 881 1596 1189 1 VPWR
port 6 nsew power bidirectional
rlabel locali s 1591 575 1709 741 1 VPWR
port 6 nsew power bidirectional
rlabel locali s 1938 881 2056 1189 1 VPWR
port 6 nsew power bidirectional
rlabel viali s 2103 695 2137 729 1 VPWR
port 6 nsew power bidirectional
rlabel viali s 2031 695 2065 729 1 VPWR
port 6 nsew power bidirectional
rlabel viali s 2016 899 2050 933 1 VPWR
port 6 nsew power bidirectional
rlabel viali s 1944 899 1978 933 1 VPWR
port 6 nsew power bidirectional
rlabel viali s 1669 695 1703 729 1 VPWR
port 6 nsew power bidirectional
rlabel viali s 1597 695 1631 729 1 VPWR
port 6 nsew power bidirectional
rlabel viali s 1556 899 1590 933 1 VPWR
port 6 nsew power bidirectional
rlabel viali s 1484 899 1518 933 1 VPWR
port 6 nsew power bidirectional
rlabel metal1 s 0 689 2208 763 1 VPWR
port 6 nsew power bidirectional
rlabel metal1 s 0 865 2208 939 1 VPWR
port 6 nsew power bidirectional
<< properties >>
string FIXED_BBOX 0 0 2208 1628
string GDS_END 272530
string GDS_FILE $PDKPATH/libs.ref/sky130_fd_sc_hvl/gds/sky130_fd_sc_hvl.gds
string GDS_START 249164
string LEFclass CORE
string LEFsite unithvdbl
string LEFsymmetry X Y
<< end >>
